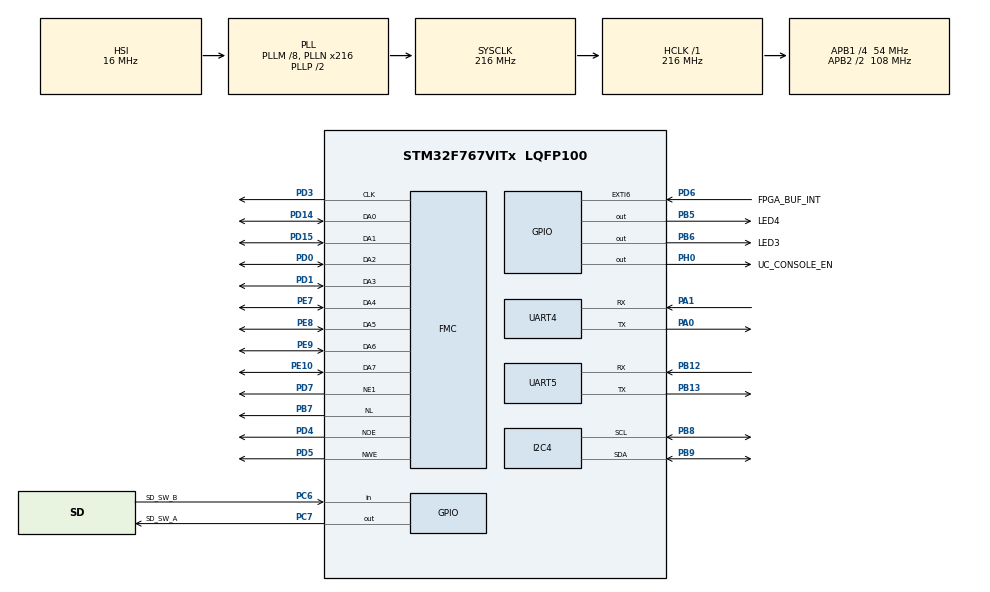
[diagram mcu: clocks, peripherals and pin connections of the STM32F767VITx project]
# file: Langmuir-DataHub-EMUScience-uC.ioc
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Dma.I2C4_RX.1.Direction=DMA_PERIPH_TO_MEMORY
Dma.I2C4_RX.1.FIFOMode=DMA_FIFOMODE_DISABLE
Dma.I2C4_RX.1.Instance=DMA1_Stream1
Dma.I2C4_RX.1.MemDataAlignment=DMA_MDATAALIGN_BYTE
Dma.I2C4_RX.1.MemInc=DMA_MINC_ENABLE
Dma.I2C4_RX.1.Mode=DMA_NORMAL
Dma.I2C4_RX.1.PeriphDataAlignment=DMA_PDATAALIGN_BYTE
Dma.I2C4_RX.1.PeriphInc=DMA_PINC_DISABLE
Dma.I2C4_RX.1.Priority=DMA_PRIORITY_LOW
Dma.I2C4_TX.2.Direction=DMA_MEMORY_TO_PERIPH
Dma.I2C4_TX.2.FIFOMode=DMA_FIFOMODE_DISABLE
Dma.I2C4_TX.2.Instance=DMA1_Stream5
Dma.I2C4_TX.2.MemDataAlignment=DMA_MDATAALIGN_BYTE
Dma.I2C4_TX.2.MemInc=DMA_MINC_ENABLE
Dma.I2C4_TX.2.Mode=DMA_NORMAL
Dma.I2C4_TX.2.PeriphDataAlignment=DMA_PDATAALIGN_BYTE
Dma.I2C4_TX.2.PeriphInc=DMA_PINC_DISABLE
Dma.I2C4_TX.2.Priority=DMA_PRIORITY_LOW
Dma.MEMTOMEM.0.Direction=DMA_MEMORY_TO_MEMORY
Dma.MEMTOMEM.0.FIFOMode=DMA_FIFOMODE_ENABLE
Dma.MEMTOMEM.0.FIFOThreshold=DMA_FIFO_THRESHOLD_FULL
Dma.MEMTOMEM.0.Instance=DMA2_Stream1
Dma.MEMTOMEM.0.MemBurst=DMA_MBURST_SINGLE
Dma.MEMTOMEM.0.MemDataAlignment=DMA_MDATAALIGN_BYTE
Dma.MEMTOMEM.0.MemInc=DMA_MINC_ENABLE
Dma.MEMTOMEM.0.Mode=DMA_NORMAL
Dma.MEMTOMEM.0.PeriphBurst=DMA_PBURST_SINGLE
Dma.MEMTOMEM.0.PeriphDataAlignment=DMA_PDATAALIGN_BYTE
Dma.MEMTOMEM.0.PeriphInc=DMA_PINC_ENABLE
Dma.MEMTOMEM.0.Priority=DMA_PRIORITY_VERY_HIGH
Dma.Request0=MEMTOMEM
Dma.Request1=I2C4_RX
Dma.Request2=I2C4_TX
Dma.Request3=UART4_TX
Dma.Request4=UART5_RX
Dma.UART4_TX.3.Direction=DMA_MEMORY_TO_PERIPH
Dma.UART4_TX.3.FIFOMode=DMA_FIFOMODE_DISABLE
Dma.UART4_TX.3.Instance=DMA1_Stream4
Dma.UART4_TX.3.MemDataAlignment=DMA_MDATAALIGN_BYTE
Dma.UART4_TX.3.MemInc=DMA_MINC_ENABLE
Dma.UART4_TX.3.Mode=DMA_NORMAL
Dma.UART4_TX.3.PeriphDataAlignment=DMA_PDATAALIGN_BYTE
Dma.UART4_TX.3.PeriphInc=DMA_PINC_DISABLE
Dma.UART4_TX.3.Priority=DMA_PRIORITY_LOW
Dma.UART5_RX.4.Direction=DMA_PERIPH_TO_MEMORY
Dma.UART5_RX.4.FIFOMode=DMA_FIFOMODE_DISABLE
Dma.UART5_RX.4.Instance=DMA1_Stream0
Dma.UART5_RX.4.MemDataAlignment=DMA_MDATAALIGN_BYTE
Dma.UART5_RX.4.MemInc=DMA_MINC_ENABLE
Dma.UART5_RX.4.Mode=DMA_NORMAL
Dma.UART5_RX.4.PeriphDataAlignment=DMA_PDATAALIGN_BYTE
Dma.UART5_RX.4.PeriphInc=DMA_PINC_DISABLE
Dma.UART5_RX.4.Priority=DMA_PRIORITY_LOW
FMC.CLKDivision1=6
FMC.WriteFifo1=FMC_WRITE_FIFO_DISABLE
FMC.WriteFifo2=FMC_WRITE_FIFO_DISABLE
FREERTOS.Tasks01=PUS_3_Task,0,1024,handle_PUS_3_Service,Default,NULL,Dynamic,NULL,NULL;UART_OBC_IN,2,1024,handle_UART_IN_OBC,Default,NULL,Dynamic,NULL,NULL;PUS_8_Task,0,1024,handle_PUS_8_Service,Default,NULL,Dynamic,NULL,NULL;UART_OBC_OUT,1,1024,handle_UART_OUT_OBC,Default,NULL,Dynamic,NULL,NULL;UART_FPGA_IN,2,512,handle_UART_IN_FPGA,Default,NULL,Dynamic,NULL,NULL;FPGA_Dispatcher,1,512,handle_FPGA_Dispatcher,Default,NULL,Dynamic,NULL,NULL;Watchdog_Task,-2,128,handle_Watchdog,Default,NULL,Dynamic,NULL,NULL
FREERTOS.configTOTAL_HEAP_SIZE=30000
I2C4.Timing=0x20404768
IWDG.Prescaler=IWDG_PRESCALER_64
Mcu.Family=STM32F7
Mcu.Name=STM32F767VITx
Mcu.Package=LQFP100
NVIC.DMA1_Stream0_IRQn=true\:5\:0\:false\:false\:true\:true\:false\:true
NVIC.DMA1_Stream1_IRQn=true\:5\:0\:false\:false\:true\:true\:false\:true
NVIC.DMA1_Stream4_IRQn=true\:5\:0\:false\:false\:true\:true\:false\:true
NVIC.DMA1_Stream5_IRQn=true\:5\:0\:false\:false\:true\:true\:false\:true
NVIC.DMA2_Stream1_IRQn=true\:5\:0\:false\:true\:true\:1\:true\:true\:true
NVIC.EXTI9_5_IRQn=true\:5\:0\:false\:false\:true\:true\:true\:true
NVIC.PriorityGroup=NVIC_PRIORITYGROUP_4
NVIC.TIM1_UP_TIM10_IRQn=true\:0\:0\:false\:false\:true\:false\:false\:true
NVIC.TimeBase=TIM1_UP_TIM10_IRQn
NVIC.TimeBaseIP=TIM1
NVIC.UART4_IRQn=true\:5\:0\:false\:false\:true\:true\:true\:true
NVIC.UART5_IRQn=true\:5\:0\:false\:false\:true\:true\:true\:true
PA0/WKUP.Mode=Asynchronous
PA0/WKUP.Signal=UART4_TX
PA1.Mode=Asynchronous
PA1.Signal=UART4_RX
PA13.Mode=Serial_Wire
PA13.Signal=SYS_JTMS-SWDIO
PA14.Mode=Serial_Wire
PA14.Signal=SYS_JTCK-SWCLK
PB12.Mode=Asynchronous
PB12.Signal=UART5_RX
PB13.Mode=Asynchronous
PB13.Signal=UART5_TX
PB5.GPIO_Label=LED4
PB5.Signal=GPIO_Output
PB6.GPIO_Label=LED3
PB6.Signal=GPIO_Output
PB7.GPIO_PuPd=GPIO_NOPULL
PB7.GPIO_Speed_High_Default=GPIO_SPEED_FREQ_MEDIUM
PB7.Signal=FMC_NL
PB8.GPIO_PuPdOD=GPIO_PULLUP
PB8.GPIO_Speed=GPIO_SPEED_FREQ_LOW
PB8.Mode=I2C
PB8.Signal=I2C4_SCL
PB9.GPIO_PuPdOD=GPIO_PULLUP
PB9.GPIO_Speed=GPIO_SPEED_FREQ_LOW
PB9.Mode=I2C
PB9.Signal=I2C4_SDA
PC6.GPIO_Label=SD_SW_B
PC6.GPIO_PuPd=GPIO_PULLUP
PC6.Signal=GPIO_Input
PC7.GPIO_Label=SD_SW_A
PC7.PinState=GPIO_PIN_RESET
PC7.Signal=GPIO_Output
PD0.GPIO_Speed_High_Default=GPIO_SPEED_FREQ_MEDIUM
PD0.Signal=FMC_D2_DA2
PD1.GPIO_Speed_High_Default=GPIO_SPEED_FREQ_MEDIUM
PD1.Signal=FMC_D3_DA3
PD14.GPIO_Speed_High_Default=GPIO_SPEED_FREQ_MEDIUM
PD14.Signal=FMC_D0_DA0
PD15.GPIO_Speed_High_Default=GPIO_SPEED_FREQ_MEDIUM
PD15.Signal=FMC_D1_DA1
PD3.GPIO_Speed_High_Default=GPIO_SPEED_FREQ_MEDIUM
PD3.Signal=FMC_CLK
PD4.GPIO_Speed_High_Default=GPIO_SPEED_FREQ_MEDIUM
PD4.Signal=FMC_NOE
PD5.GPIO_Speed_High_Default=GPIO_SPEED_FREQ_MEDIUM
PD5.Signal=FMC_NWE
PD6.GPIO_Label=FPGA_BUF_INT
PD6.Signal=GPXTI6
PD7.GPIO_Speed_High_Default=GPIO_SPEED_FREQ_MEDIUM
PD7.Mode=NorPsramChipSelect1_1
PD7.Signal=FMC_NE1
PE10.GPIO_Speed_High_Default=GPIO_SPEED_FREQ_MEDIUM
PE10.Signal=FMC_D7_DA7
PE7.GPIO_Speed_High_Default=GPIO_SPEED_FREQ_MEDIUM
PE7.Signal=FMC_D4_DA4
PE8.GPIO_Speed_High_Default=GPIO_SPEED_FREQ_MEDIUM
PE8.Signal=FMC_D5_DA5
PE9.GPIO_Speed_High_Default=GPIO_SPEED_FREQ_MEDIUM
PE9.Signal=FMC_D6_DA6
PH0/OSC_IN.GPIO_Label=UC_CONSOLE_EN
PH0/OSC_IN.Signal=GPIO_Output
ProjectManager.HeapSize=0x200
ProjectManager.StackSize=0x400
ProjectManager.TargetToolchain=STM32CubeIDE
RCC.AHBFreq_Value=216000000
RCC.APB1CLKDivider=RCC_HCLK_DIV4
RCC.APB1Freq_Value=54000000
RCC.APB1TimFreq_Value=108000000
RCC.APB2CLKDivider=RCC_HCLK_DIV2
RCC.APB2Freq_Value=108000000
RCC.APB2TimFreq_Value=216000000
RCC.CortexFreq_Value=216000000
RCC.HCLKFreq_Value=216000000
RCC.HSE_VALUE=25000000
RCC.HSI_VALUE=16000000
RCC.LSE_VALUE=32768
RCC.PLLM=8
RCC.PLLN=216
RCC.PLLQ=9
RCC.SDMMCClockSelection=RCC_SDMMC1CLKSOURCE_CLK48
RCC.SYSCLKFreq_VALUE=216000000
RCC.SYSCLKSource=RCC_SYSCLKSOURCE_PLLCLK
RCC.USBFreq_Value=48000000
RCC.VCOOutputFreq_Value=432000000
SH.FMC_CLK.0=FMC_CLK,BurstRead1
SH.FMC_D0_DA0.0=FMC_DA0,8b-da1
SH.FMC_D1_DA1.0=FMC_DA1,8b-da1
SH.FMC_D2_DA2.0=FMC_DA2,8b-da1
SH.FMC_D3_DA3.0=FMC_DA3,8b-da1
SH.FMC_D4_DA4.0=FMC_DA4,8b-da1
SH.FMC_D5_DA5.0=FMC_DA5,8b-da1
SH.FMC_D6_DA6.0=FMC_DA6,8b-da1
SH.FMC_D7_DA7.0=FMC_DA7,8b-da1
SH.FMC_NL.0=FMC_NL,AddressValid1
SH.FMC_NOE.0=FMC_NOE,MuxedPsram1
SH.FMC_NWE.0=FMC_NWE,MuxedPsram1
VP_FREERTOS_VS_CMSIS_V1.Mode=CMSIS_V1
VP_IWDG_VS_IWDG.Mode=IWDG_Activate
VP_SYS_VS_tim1.Mode=TIM1
board=custom

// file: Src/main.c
/* USER CODE BEGIN Header */
/**
    ******************************************************************************
    * @file                     : main.c
    * @brief                    : Main program body
    ******************************************************************************
    * @attention
    *
    * <h2><center>&copy; Copyright (c) 2019 STMicroelectronics.
    * All rights reserved.</center></h2>
    *
    * This software component is licensed by ST under Ultimate Liberty license
    * SLA0044, the "License"; You may not use this file except in compliance with
    * the License. You may obtain a copy of the License at:
    *                                                         www.st.com/SLA0044
    *
    ******************************************************************************
    */
/* USER CODE END Header */

#include "main.h"
#include "cmsis_os.h"

/* USER CODE BEGIN Includes */

#include "FRAM.h"
#include "COBS.h"
#include "General_Functions.h"
#include "Space_Packet_Protocol.h"
#include "PUS.h"
#include "PUS_1_service.h"
#include "PUS_3_service.h"
#include "PUS_8_service.h"
#include "PUS_17_service.h"
#include "Device_State.h"
#include "fram_meta.h"
/* USER CODE END Includes */

I2C_HandleTypeDef hi2c4;
DMA_HandleTypeDef hdma_i2c4_rx;
DMA_HandleTypeDef hdma_i2c4_tx;

IWDG_HandleTypeDef hiwdg;

UART_HandleTypeDef huart4;
UART_HandleTypeDef huart5;
DMA_HandleTypeDef hdma_uart4_tx;
DMA_HandleTypeDef hdma_uart5_rx;

DMA_HandleTypeDef hdma_memtomem_dma2_stream1;
SRAM_HandleTypeDef hsram1;

osThreadId PUS_3_TaskHandle;
osThreadId UART_OBC_INHandle;
osThreadId PUS_8_TaskHandle;
osThreadId UART_OBC_OUTHandle;
osThreadId UART_FPGA_INHandle;
osThreadId FPGA_DispatcherHandle;
osThreadId Watchdog_TaskHandle;
/* USER CODE BEGIN PV */

#define UNIT_ID_CU 0x1A
#define UNIT_ID_EMUCONTROL 0x1B
#define UNIT_ID_EMUSCIENCE 0x1C
#define UNIT_ID_SMILE 0x1D

#define SWEEP_MODE_MEASUREMENT_BYTE_SIZE 8 // size in bytes of a measurement stored inside the FIFO
#define SWEEP_MODE_ROWS_TO_READ 64 // nr of rows that have to be read when the AFULL interrupt is generated
#define SWEEP_MODE_DATA_SIZE_TO_READ SWEEP_MODE_ROWS_TO_READ * SWEEP_MODE_MEASUREMENT_BYTE_SIZE * sizeof(uint8_t)

#define UART_MAX_RETRIES 3

#define BOOT_HEALTH_OBC_RX_ARM  (1u << 0)
#define BOOT_HEALTH_FPGA_RX_ARM (1u << 1)
#define BOOT_HEALTH_WATCHDOG    (1u << 2)
#define BOOT_HEALTH_REQUIRED    (BOOT_HEALTH_OBC_RX_ARM | \
                                 BOOT_HEALTH_FPGA_RX_ARM | \
                                 BOOT_HEALTH_WATCHDOG)

#define APP_DIAG_MAGIC 0x41444941u /* "ADIA" */

typedef struct {
	uint32_t magic;
	uint32_t boot_count;
	uint32_t previous_stage;
	uint32_t current_stage;
	uint32_t cfsr;
	uint32_t hfsr;
} app_diag_t;

volatile app_diag_t g_app_diag
	__attribute__((section(".noinit.app_diag"), aligned(8), used));

uint16_t HK_SPP_APP_ID = 0;
uint16_t HK_PUS_SOURCE_ID = 0;

volatile uint8_t g_boot_confirmed = 0;  // 1 = ConfirmBoot() persisted to FRAM (reported in GET_VERSION TM)
static volatile uint32_t g_boot_health_flags = 0u;
static volatile uint8_t g_boot_health_failed = 0u;

extern QueueHandle_t UART_OBC_Out_Queue;
extern QueueHandle_t PUS_3_Queue;
extern QueueHandle_t PUS_8_Queue;
extern QueueHandle_t FPGA_IN_Queue;

extern volatile uint8_t uart_tx_OBC_done;
extern volatile uint8_t uart_tx_FPGA_done;

extern uint8_t UART_FPGA_Rx_Buffer[100];
extern uint8_t UART_FPGA_OBC_Tx_Buffer[100];

extern volatile UART_Rx_OBC_Msg UART_RxBuffer;
extern volatile uint16_t UART_recv_count;
extern volatile uint8_t UART_recv_char;
extern volatile uint8_t UART_TxBuffer[MAX_COBS_FRAME_LEN];

DeviceState Current_Global_Device_State = NORMAL_MODE;

volatile uint8_t Sweep_Bias_Mode_Data[3072];

volatile uint16_t Sweep_Bias_Data_counter = 0;
volatile uint16_t Old_Sweep_Bias_Data_counter = 0;

/* USER CODE END PV */

void SystemClock_Config(void);
static void MX_GPIO_Init(void);
static void MX_DMA_Init(void);
static void MX_FMC_Init(void);
static void MX_I2C4_Init(void);
static void MX_UART4_Init(void);
static void MX_UART5_Init(void);
static void MX_IWDG_Init(void);
void handle_PUS_3_Service(void const * argument);
void handle_UART_IN_OBC(void const * argument);
void handle_PUS_8_Service(void const * argument);
void handle_UART_OUT_OBC(void const * argument);
void handle_UART_IN_FPGA(void const * argument);
void handle_FPGA_Dispatcher(void const * argument);
void handle_Watchdog(void const * argument);

static void MX_NVIC_Init(void);
/* USER CODE BEGIN PFP */
static bool arm_obc_receive(void);
static bool arm_fpga_receive(void);
static void app_diag_stage(uint32_t stage);

/* USER CODE END PFP */

/* USER CODE BEGIN 0 */

static void app_diag_begin(void)
{
	uint32_t previous = 0u;
	uint32_t count = 0u;
	if (g_app_diag.magic == APP_DIAG_MAGIC) {
		previous = g_app_diag.current_stage;
		count = g_app_diag.boot_count;
	}
	g_app_diag.magic = APP_DIAG_MAGIC;
	g_app_diag.boot_count = count + 1u;
	g_app_diag.previous_stage = previous;
	g_app_diag.current_stage = 1u;
	g_app_diag.cfsr = 0u;
	g_app_diag.hfsr = 0u;
	__DMB();
}

static void app_diag_stage(uint32_t stage)
{
	g_app_diag.current_stage = stage;
	__DMB();
}

void BootHealth_RequestReset(void)
{
	g_boot_health_failed = 1u;
	__DMB();
}

bool BootHealth_RefreshIWDG(void)
{
	if (g_boot_health_failed) {
		return false;
	}

	return HAL_IWDG_Refresh(&hiwdg) == HAL_OK;
}

void AppDiag_RecordFault(uint32_t fault_kind)
{
	g_app_diag.current_stage = 0x80000000u | fault_kind;
	g_app_diag.cfsr = SCB->CFSR;
	g_app_diag.hfsr = SCB->HFSR;
	__DMB();
}

static bool arm_obc_receive(void)
{
	for (uint32_t attempt = 0u; attempt < UART_MAX_RETRIES; attempt++) {
		__HAL_UART_CLEAR_FLAG(&DEBUG_UART, UART_FLAG_ORE);
		__HAL_UART_CLEAR_FLAG(&DEBUG_UART, UART_FLAG_NE);
		__HAL_UART_CLEAR_FLAG(&DEBUG_UART, UART_FLAG_FE);
		if (HAL_UART_Receive_IT(&DEBUG_UART, (uint8_t*)&UART_recv_char, 1u) == HAL_OK) {
			return true;
		}
		osDelay(10u);
	}
	return false;
}

static bool arm_fpga_receive(void)
{
	for (uint32_t attempt = 0u; attempt < UART_MAX_RETRIES; attempt++) {
		if (HAL_UART_Receive_DMA(&huart5, UART_FPGA_Rx_Buffer,
						  FPGA_FRAME_LEN) == HAL_OK) {
			return true;
		}
		osDelay(10u);
	}
	return false;
}

/* USER CODE END 0 */

int main(void)
{
  /* USER CODE BEGIN 1 */
	/* The bootloader intentionally hands off with PRIMASK set. This also keeps
	 * a directly programmed/JTAG-started application independent of BL state. */
	__enable_irq();
	app_diag_begin();

  /* USER CODE END 1 */

  /* MCU Configuration--------------------------------------------------------*/

  /* Reset of all peripherals, Initializes the Flash interface and the Systick. */
  app_diag_stage(2u);
  if (HAL_Init() != HAL_OK) {
    Error_Handler();
  }

  /* USER CODE BEGIN Init */

  // This line is very IMPORTANT because it also pauses the hardware watchdog when in debug mode,
  // thus allowing for a proper analysis of the system state (ex: science data buffer)
  __HAL_DBGMCU_FREEZE_IWDG();

  FPGA_IN_Queue      = xQueueCreate(128, sizeof(FPGA_IN_Msg_t));
  UART_OBC_Out_Queue = xQueueCreate(1, sizeof(UART_OUT_OBC_msg));
  PUS_3_Queue = xQueueCreate(1, sizeof(PUS_3_msg));
// --------------------------------------------------------------------------------------------------
  PUS_8_Queue = xQueueCreate(8, sizeof(PUS_8_msg));
 // --------------------------------------------------------------------------------------------------

  Current_Global_Device_State = NORMAL_MODE;
  /* USER CODE END Init */

  /* Configure the system clock */
  app_diag_stage(3u);
  SystemClock_Config();

  /* Initialize all configured peripherals */
  app_diag_stage(4u);
  MX_GPIO_Init();
  app_diag_stage(5u);
  MX_DMA_Init();
  app_diag_stage(6u);
  MX_FMC_Init();
  app_diag_stage(7u);
  MX_I2C4_Init();
  app_diag_stage(8u);
  MX_UART4_Init();
  app_diag_stage(9u);
  MX_UART5_Init();
  app_diag_stage(10u);
  MX_IWDG_Init();

  /* Initialize interrupts */
  MX_NVIC_Init();
  app_diag_stage(11u);
  /* USER CODE BEGIN 2 */
  /* Boot confirmation occurs after the scheduler and watchdog health interval. */

  HAL_GPIO_WritePin(GPIOB, LED4_Pin|LED3_Pin, GPIO_PIN_RESET);

  hsram1.hdma = &hdma_memtomem_dma2_stream1;
  /* USER CODE END 2 */

  /* Create the thread(s) */
  /* definition and creation of PUS_3_Task */
  osThreadDef(PUS_3_Task, handle_PUS_3_Service, osPriorityNormal, 0, 1024);
  PUS_3_TaskHandle = osThreadCreate(osThread(PUS_3_Task), NULL);

  /* definition and creation of UART_OBC_IN */
  osThreadDef(UART_OBC_IN, handle_UART_IN_OBC, osPriorityHigh, 0, 1024);
  UART_OBC_INHandle = osThreadCreate(osThread(UART_OBC_IN), NULL);

  /* definition and creation of PUS_8_Task */
  osThreadDef(PUS_8_Task, handle_PUS_8_Service, osPriorityNormal, 0, 1024);
  PUS_8_TaskHandle = osThreadCreate(osThread(PUS_8_Task), NULL);

  /* definition and creation of UART_OBC_OUT */
  osThreadDef(UART_OBC_OUT, handle_UART_OUT_OBC, osPriorityAboveNormal, 0, 1024);
  UART_OBC_OUTHandle = osThreadCreate(osThread(UART_OBC_OUT), NULL);

  /* definition and creation of UART_FPGA_IN */
  osThreadDef(UART_FPGA_IN, handle_UART_IN_FPGA, osPriorityHigh, 0, 512);
  UART_FPGA_INHandle = osThreadCreate(osThread(UART_FPGA_IN), NULL);

  /* definition and creation of FPGA_Dispatcher */
  osThreadDef(FPGA_Dispatcher, handle_FPGA_Dispatcher, osPriorityAboveNormal, 0, 512);
  FPGA_DispatcherHandle = osThreadCreate(osThread(FPGA_Dispatcher), NULL);

  /* definition and creation of Watchdog_Task */
  osThreadDef(Watchdog_Task, handle_Watchdog, osPriorityLow, 0, 128);
  Watchdog_TaskHandle = osThreadCreate(osThread(Watchdog_Task), NULL);

  if (FPGA_IN_Queue == NULL ||
      UART_OBC_Out_Queue == NULL ||
      PUS_3_Queue == NULL ||
      PUS_8_Queue == NULL ||
      PUS_3_TaskHandle == NULL ||
      UART_OBC_INHandle == NULL ||
      PUS_8_TaskHandle == NULL ||
      UART_OBC_OUTHandle == NULL ||
      UART_FPGA_INHandle == NULL ||
      FPGA_DispatcherHandle == NULL ||
      Watchdog_TaskHandle == NULL) {
    while (1) {
      /* The running IWDG resets into the bootloader. */
    }
  }

  app_diag_stage(12u);

  /* Start scheduler */
  osKernelStart();

  /* We should never get here as control is now taken by the scheduler */

  /* Infinite loop */
    while (1)
    {

    }
}

void SystemClock_Config(void)
{
  RCC_OscInitTypeDef RCC_OscInitStruct = {0};
  RCC_ClkInitTypeDef RCC_ClkInitStruct = {0};
  RCC_PeriphCLKInitTypeDef PeriphClkInitStruct = {0};

  /** Configure the main internal regulator output voltage
  */
  __HAL_RCC_PWR_CLK_ENABLE();
  __HAL_PWR_VOLTAGESCALING_CONFIG(PWR_REGULATOR_VOLTAGE_SCALE1);
  /** Initializes the CPU, AHB and APB busses clocks
  */
  RCC_OscInitStruct.OscillatorType = RCC_OSCILLATORTYPE_HSI|RCC_OSCILLATORTYPE_LSI;
  RCC_OscInitStruct.HSIState = RCC_HSI_ON;
  RCC_OscInitStruct.HSICalibrationValue = RCC_HSICALIBRATION_DEFAULT;
  RCC_OscInitStruct.LSIState = RCC_LSI_ON;
  RCC_OscInitStruct.PLL.PLLState = RCC_PLL_ON;
  RCC_OscInitStruct.PLL.PLLSource = RCC_PLLSOURCE_HSI;
  RCC_OscInitStruct.PLL.PLLM = 8;
  RCC_OscInitStruct.PLL.PLLN = 216;
  RCC_OscInitStruct.PLL.PLLP = RCC_PLLP_DIV2;
  RCC_OscInitStruct.PLL.PLLQ = 9;
  if (HAL_RCC_OscConfig(&RCC_OscInitStruct) != HAL_OK)
  {
    Error_Handler();
  }
  /** Activate the Over-Drive mode
  */
  if (HAL_PWREx_EnableOverDrive() != HAL_OK)
  {
    Error_Handler();
  }
  /** Initializes the CPU, AHB and APB busses clocks
  */
  RCC_ClkInitStruct.ClockType = RCC_CLOCKTYPE_HCLK|RCC_CLOCKTYPE_SYSCLK
                              |RCC_CLOCKTYPE_PCLK1|RCC_CLOCKTYPE_PCLK2;
  RCC_ClkInitStruct.SYSCLKSource = RCC_SYSCLKSOURCE_PLLCLK;
  RCC_ClkInitStruct.AHBCLKDivider = RCC_SYSCLK_DIV1;
  RCC_ClkInitStruct.APB1CLKDivider = RCC_HCLK_DIV4;
  RCC_ClkInitStruct.APB2CLKDivider = RCC_HCLK_DIV2;

  if (HAL_RCC_ClockConfig(&RCC_ClkInitStruct, FLASH_LATENCY_7) != HAL_OK)
  {
    Error_Handler();
  }
  PeriphClkInitStruct.PeriphClockSelection = RCC_PERIPHCLK_UART4|RCC_PERIPHCLK_UART5
                              |RCC_PERIPHCLK_I2C4;
  PeriphClkInitStruct.Uart4ClockSelection = RCC_UART4CLKSOURCE_PCLK1;
  PeriphClkInitStruct.Uart5ClockSelection = RCC_UART5CLKSOURCE_PCLK1;
  PeriphClkInitStruct.I2c4ClockSelection = RCC_I2C4CLKSOURCE_PCLK1;
  if (HAL_RCCEx_PeriphCLKConfig(&PeriphClkInitStruct) != HAL_OK)
  {
    Error_Handler();
  }
}

/**
  * @brief NVIC Configuration.
  * @retval None
  */
static void MX_NVIC_Init(void)
{
  /* DMA2_Stream1_IRQn interrupt configuration */
  HAL_NVIC_SetPriority(DMA2_Stream1_IRQn, 5, 0);
  HAL_NVIC_EnableIRQ(DMA2_Stream1_IRQn);
}

static void MX_I2C4_Init(void)
{

  hi2c4.Instance = I2C4;
  hi2c4.Init.Timing = 0x20404768;
  hi2c4.Init.OwnAddress1 = 0;
  hi2c4.Init.AddressingMode = I2C_ADDRESSINGMODE_7BIT;
  hi2c4.Init.DualAddressMode = I2C_DUALADDRESS_DISABLE;
  hi2c4.Init.OwnAddress2 = 0;
  hi2c4.Init.OwnAddress2Masks = I2C_OA2_NOMASK;
  hi2c4.Init.GeneralCallMode = I2C_GENERALCALL_DISABLE;
  hi2c4.Init.NoStretchMode = I2C_NOSTRETCH_DISABLE;
  if (HAL_I2C_Init(&hi2c4) != HAL_OK)
  {
    Error_Handler();
  }
  /** Configure Analogue filter
  */
  if (HAL_I2CEx_ConfigAnalogFilter(&hi2c4, I2C_ANALOGFILTER_ENABLE) != HAL_OK)
  {
    Error_Handler();
  }
  /** Configure Digital filter
  */
  if (HAL_I2CEx_ConfigDigitalFilter(&hi2c4, 0) != HAL_OK)
  {
    Error_Handler();
  }

}

static void MX_IWDG_Init(void)
{

  hiwdg.Instance = IWDG;
  hiwdg.Init.Prescaler = IWDG_PRESCALER_128;
  hiwdg.Init.Window = 4095;
  hiwdg.Init.Reload = 4095;
  if (HAL_IWDG_Init(&hiwdg) != HAL_OK)
  {
    Error_Handler();
  }

}

static void MX_UART4_Init(void)
{

  huart4.Instance = UART4;
  huart4.Init.BaudRate = 115200;
  huart4.Init.WordLength = UART_WORDLENGTH_8B;
  huart4.Init.StopBits = UART_STOPBITS_1;
  huart4.Init.Parity = UART_PARITY_NONE;
  huart4.Init.Mode = UART_MODE_TX_RX;
  huart4.Init.HwFlowCtl = UART_HWCONTROL_NONE;
  huart4.Init.OverSampling = UART_OVERSAMPLING_16;
  huart4.Init.OneBitSampling = UART_ONE_BIT_SAMPLE_DISABLE;
  huart4.AdvancedInit.AdvFeatureInit = UART_ADVFEATURE_NO_INIT;
  if (HAL_UART_Init(&huart4) != HAL_OK)
  {
    Error_Handler();
  }

}

static void MX_UART5_Init(void)
{

  huart5.Instance = UART5;
  huart5.Init.BaudRate = 115200;
  huart5.Init.WordLength = UART_WORDLENGTH_8B;
  huart5.Init.StopBits = UART_STOPBITS_1;
  huart5.Init.Parity = UART_PARITY_NONE;
  huart5.Init.Mode = UART_MODE_TX_RX;
  huart5.Init.HwFlowCtl = UART_HWCONTROL_NONE;
  huart5.Init.OverSampling = UART_OVERSAMPLING_16;
  huart5.Init.OneBitSampling = UART_ONE_BIT_SAMPLE_DISABLE;
  huart5.AdvancedInit.AdvFeatureInit = UART_ADVFEATURE_NO_INIT;
  if (HAL_UART_Init(&huart5) != HAL_OK)
  {
    Error_Handler();
  }

}

static void MX_DMA_Init(void)
{
  /* DMA controller clock enable */
  __HAL_RCC_DMA2_CLK_ENABLE();
  __HAL_RCC_DMA1_CLK_ENABLE();

  /* Configure DMA request hdma_memtomem_dma2_stream1 on DMA2_Stream1 */
  hdma_memtomem_dma2_stream1.Instance = DMA2_Stream1;
  hdma_memtomem_dma2_stream1.Init.Channel = DMA_CHANNEL_0;
  hdma_memtomem_dma2_stream1.Init.Direction = DMA_MEMORY_TO_MEMORY;
  hdma_memtomem_dma2_stream1.Init.PeriphInc = DMA_PINC_ENABLE;
  hdma_memtomem_dma2_stream1.Init.MemInc = DMA_MINC_ENABLE;
  hdma_memtomem_dma2_stream1.Init.PeriphDataAlignment = DMA_PDATAALIGN_BYTE;
  hdma_memtomem_dma2_stream1.Init.MemDataAlignment = DMA_MDATAALIGN_BYTE;
  hdma_memtomem_dma2_stream1.Init.Mode = DMA_NORMAL;
  hdma_memtomem_dma2_stream1.Init.Priority = DMA_PRIORITY_VERY_HIGH;
  hdma_memtomem_dma2_stream1.Init.FIFOMode = DMA_FIFOMODE_ENABLE;
  hdma_memtomem_dma2_stream1.Init.FIFOThreshold = DMA_FIFO_THRESHOLD_FULL;
  hdma_memtomem_dma2_stream1.Init.MemBurst = DMA_MBURST_SINGLE;
  hdma_memtomem_dma2_stream1.Init.PeriphBurst = DMA_PBURST_SINGLE;
  if (HAL_DMA_Init(&hdma_memtomem_dma2_stream1) != HAL_OK)
  {
    Error_Handler( );
  }

  /* DMA interrupt init */
  /* DMA1_Stream0_IRQn interrupt configuration */
  HAL_NVIC_SetPriority(DMA1_Stream0_IRQn, 5, 0);
  HAL_NVIC_EnableIRQ(DMA1_Stream0_IRQn);
  /* DMA1_Stream1_IRQn interrupt configuration */
  HAL_NVIC_SetPriority(DMA1_Stream1_IRQn, 5, 0);
  HAL_NVIC_EnableIRQ(DMA1_Stream1_IRQn);
  /* DMA1_Stream4_IRQn interrupt configuration */
  HAL_NVIC_SetPriority(DMA1_Stream4_IRQn, 5, 0);
  HAL_NVIC_EnableIRQ(DMA1_Stream4_IRQn);
  /* DMA1_Stream5_IRQn interrupt configuration */
  HAL_NVIC_SetPriority(DMA1_Stream5_IRQn, 5, 0);
  HAL_NVIC_EnableIRQ(DMA1_Stream5_IRQn);

}
/* FMC initialization function */
static void MX_FMC_Init(void)
{
  FMC_NORSRAM_TimingTypeDef Timing;

  /** Perform the SRAM1 memory initialization sequence
  */
  hsram1.Instance = FMC_NORSRAM_DEVICE;
  hsram1.Extended = FMC_NORSRAM_EXTENDED_DEVICE;
  /* hsram1.Init */
  hsram1.Init.NSBank = FMC_NORSRAM_BANK1;
  hsram1.Init.DataAddressMux = FMC_DATA_ADDRESS_MUX_ENABLE;
  hsram1.Init.MemoryType = FMC_MEMORY_TYPE_PSRAM;
  hsram1.Init.MemoryDataWidth = FMC_NORSRAM_MEM_BUS_WIDTH_8;
  hsram1.Init.BurstAccessMode = FMC_BURST_ACCESS_MODE_ENABLE;
  hsram1.Init.WaitSignalPolarity = FMC_WAIT_SIGNAL_POLARITY_LOW;
  hsram1.Init.WaitSignalActive = FMC_WAIT_TIMING_BEFORE_WS;
  hsram1.Init.WriteOperation = FMC_WRITE_OPERATION_DISABLE;
  hsram1.Init.WaitSignal = FMC_WAIT_SIGNAL_DISABLE;
  hsram1.Init.ExtendedMode = FMC_EXTENDED_MODE_DISABLE;
  hsram1.Init.AsynchronousWait = FMC_ASYNCHRONOUS_WAIT_DISABLE;
  hsram1.Init.WriteBurst = FMC_WRITE_BURST_DISABLE;
  hsram1.Init.ContinuousClock = FMC_CONTINUOUS_CLOCK_SYNC_ONLY;
  hsram1.Init.WriteFifo = FMC_WRITE_FIFO_DISABLE;
  hsram1.Init.PageSize = FMC_PAGE_SIZE_NONE;
  /* Timing */
  Timing.AddressSetupTime = 15;
  Timing.AddressHoldTime = 15;
  Timing.DataSetupTime = 255;
  Timing.BusTurnAroundDuration = 15;
  Timing.CLKDivision = 6;
  Timing.DataLatency = 2;
  Timing.AccessMode = FMC_ACCESS_MODE_A;
  /* ExtTiming */

  if (HAL_SRAM_Init(&hsram1, &Timing, NULL) != HAL_OK)
  {
    Error_Handler( );
  }

}

static void MX_GPIO_Init(void)
{
  GPIO_InitTypeDef GPIO_InitStruct = {0};

  /* GPIO Ports Clock Enable */
  __HAL_RCC_GPIOH_CLK_ENABLE();
  __HAL_RCC_GPIOA_CLK_ENABLE();
  __HAL_RCC_GPIOE_CLK_ENABLE();
  __HAL_RCC_GPIOB_CLK_ENABLE();
  __HAL_RCC_GPIOD_CLK_ENABLE();
  __HAL_RCC_GPIOC_CLK_ENABLE();

  /*Configure GPIO pin Output Level */
  HAL_GPIO_WritePin(UC_CONSOLE_EN_GPIO_Port, UC_CONSOLE_EN_Pin, GPIO_PIN_RESET);

  /*Configure GPIO pin Output Level */
  HAL_GPIO_WritePin(SD_SW_A_GPIO_Port, SD_SW_A_Pin, GPIO_PIN_RESET);

  /*Configure GPIO pin Output Level */
  HAL_GPIO_WritePin(GPIOB, LED4_Pin|LED3_Pin, GPIO_PIN_RESET);

  /*Configure GPIO pin : UC_CONSOLE_EN_Pin */
  GPIO_InitStruct.Pin = UC_CONSOLE_EN_Pin;
  GPIO_InitStruct.Mode = GPIO_MODE_OUTPUT_PP;
  GPIO_InitStruct.Pull = GPIO_NOPULL;
  GPIO_InitStruct.Speed = GPIO_SPEED_FREQ_LOW;
  HAL_GPIO_Init(UC_CONSOLE_EN_GPIO_Port, &GPIO_InitStruct);

  /*Configure GPIO pin : SD_SW_B_Pin */
  GPIO_InitStruct.Pin = SD_SW_B_Pin;
  GPIO_InitStruct.Mode = GPIO_MODE_INPUT;
  GPIO_InitStruct.Pull = GPIO_PULLUP;
  HAL_GPIO_Init(SD_SW_B_GPIO_Port, &GPIO_InitStruct);

  /*Configure GPIO pin : SD_SW_A_Pin */
  GPIO_InitStruct.Pin = SD_SW_A_Pin;
  GPIO_InitStruct.Mode = GPIO_MODE_OUTPUT_PP;
  GPIO_InitStruct.Pull = GPIO_NOPULL;
  GPIO_InitStruct.Speed = GPIO_SPEED_FREQ_LOW;
  HAL_GPIO_Init(SD_SW_A_GPIO_Port, &GPIO_InitStruct);

  /*Configure GPIO pin : FPGA_BUF_INT_Pin */
  GPIO_InitStruct.Pin = FPGA_BUF_INT_Pin;
  GPIO_InitStruct.Mode = GPIO_MODE_IT_RISING;
  GPIO_InitStruct.Pull = GPIO_NOPULL;
  HAL_GPIO_Init(FPGA_BUF_INT_GPIO_Port, &GPIO_InitStruct);

  /*Configure GPIO pins : LED4_Pin LED3_Pin */
  GPIO_InitStruct.Pin = LED4_Pin|LED3_Pin;
  GPIO_InitStruct.Mode = GPIO_MODE_OUTPUT_PP;
  GPIO_InitStruct.Pull = GPIO_NOPULL;
  GPIO_InitStruct.Speed = GPIO_SPEED_FREQ_LOW;
  HAL_GPIO_Init(GPIOB, &GPIO_InitStruct);

  /* EXTI interrupt init*/
  HAL_NVIC_SetPriority(EXTI9_5_IRQn, 5, 0);
  HAL_NVIC_EnableIRQ(EXTI9_5_IRQn);

}

/* USER CODE BEGIN 4 */

void HAL_SRAM_DMA_XferCpltCallback(DMA_HandleTypeDef *hdma)
{
    Sweep_Bias_Data_counter += SWEEP_MODE_DATA_SIZE_TO_READ;
    if (__HAL_GPIO_EXTI_GET_IT(FPGA_BUF_INT_Pin) != RESET)
    {
    	// VERY IMPORTANT TO CLEAR THE INTERRUPTS
    	__HAL_GPIO_EXTI_CLEAR_IT(FPGA_BUF_INT_Pin);
    	NVIC_ClearPendingIRQ(EXTI9_5_IRQn);
    }

    HAL_NVIC_EnableIRQ(EXTI9_5_IRQn);

}

void HAL_GPIO_EXTI_Callback(uint16_t GPIO_Pin)
{
	if (GPIO_Pin == FPGA_BUF_INT_Pin && (Old_Sweep_Bias_Data_counter != Sweep_Bias_Data_counter))  // Adjust to your pin
	{
		Old_Sweep_Bias_Data_counter = Sweep_Bias_Data_counter;
		HAL_GPIO_TogglePin(GPIOB, LED4_Pin | LED3_Pin);
		if(Sweep_Bias_Data_counter <= sizeof(Sweep_Bias_Mode_Data) - SWEEP_MODE_DATA_SIZE_TO_READ)
		{
			HAL_NVIC_DisableIRQ(EXTI9_5_IRQn);
			HAL_SRAM_Read_DMA(&hsram1,
					(uint32_t *)0x60000000,
					(uint32_t *)(Sweep_Bias_Mode_Data + Sweep_Bias_Data_counter),
					SWEEP_MODE_DATA_SIZE_TO_READ);

		}
		else
		{
			HAL_NVIC_DisableIRQ(EXTI9_5_IRQn);

			// VERY IMPORTANT TO CLEAR THE INTERRUPTS
			__HAL_GPIO_EXTI_CLEAR_IT(FPGA_BUF_INT_Pin);
			NVIC_ClearPendingIRQ(EXTI9_5_IRQn);
		}
	}
}

void Clear_UART_Errors(UART_HandleTypeDef *huart)
{
	// Clear Overrun Error, Noise Error, and Framing Error flags
	__HAL_UART_CLEAR_FLAG(huart, UART_FLAG_ORE);
	__HAL_UART_CLEAR_FLAG(huart, UART_FLAG_NE);
	__HAL_UART_CLEAR_FLAG(huart, UART_FLAG_FE);
}

void HAL_UART_RxCpltCallback(UART_HandleTypeDef *huart)
{
	if (huart == &huart5) {
		osSignalSet(UART_FPGA_INHandle, 0x02);
	}

	else if(huart == &DEBUG_UART)
    {
		// Store the received character in the buffer
		UART_RxBuffer.RxBuffer[UART_recv_count] = UART_recv_char;

		// Check if this is the end of frame (0x00 terminator) or the buffer is full
		if (UART_recv_char == 0x00 || UART_recv_count >= MAX_COBS_FRAME_LEN - 1)
		{
			// Mark the frame size
			UART_RxBuffer.frame_size = UART_recv_count + 1;

			UART_recv_count = 0;
			UART_recv_char = 0xff;

			// Signal the task that a complete frame is ready to be processed
			osSignalSet(UART_OBC_INHandle, 0x01);

			// DO NOT RE-ARM THE ISR, it will be done after the task processes the buffer,
			// thus ensuring no race condition (the buffer is not modified while being used)
		}
		else
		{
			// Continue accumulating characters
			UART_recv_count++;

			Clear_UART_Errors(&DEBUG_UART);

			if (HAL_UART_Receive_IT(&DEBUG_UART,(uint8_t*) &UART_recv_char, 1) != HAL_OK)
			{
				HAL_GPIO_WritePin(GPIOB, LED4_Pin|LED3_Pin, GPIO_PIN_SET);

				int retry_count = 0;
				HAL_StatusTypeDef uart_status;

				do {
					Clear_UART_Errors(&DEBUG_UART);

					uart_status = HAL_UART_Receive_IT(&DEBUG_UART,(uint8_t*) &UART_recv_char, 1);
					retry_count++;

				} while (uart_status != HAL_OK && retry_count < UART_MAX_RETRIES);

				if (uart_status != HAL_OK) {
					BootHealth_RequestReset();
				}
			}
		}

    }
}

void HAL_UART_TxCpltCallback(UART_HandleTypeDef *huart) {
    if (huart == &DEBUG_UART) {
    	uart_tx_OBC_done = 1;  // Mark transmission as complete
    }
    else if (huart == &huart5) {
    	uart_tx_FPGA_done = 1;  // Mark transmission as complete
	}
}
void HAL_UART_ErrorCallback(UART_HandleTypeDef *huart)
{
    if (huart == &DEBUG_UART) {
        UART_recv_count = 0;
        UART_recv_char  = 0xFF;
        HAL_StatusTypeDef status = HAL_ERROR;
        for (uint32_t attempt = 0u;
             attempt < UART_MAX_RETRIES && status != HAL_OK;
             attempt++) {
            Clear_UART_Errors(&DEBUG_UART);
            status = HAL_UART_Receive_IT(
                &DEBUG_UART, (uint8_t*)&UART_recv_char, 1u);
        }
        if (status != HAL_OK) {
            BootHealth_RequestReset();
        }
    }
}
/* USER CODE END 4 */

void handle_PUS_3_Service(void const * argument)
{

  /* USER CODE BEGIN 5 */

    // uint8_t periodic_report = 0;
    PUS_3_msg pus3_msg_received;
    TM_Err_Codes result;

    /* Infinite loop */
    for(;;)
    {
    		if (xQueueReceive(PUS_3_Queue, &pus3_msg_received, portMAX_DELAY) == pdPASS)
    		{
    			result = PUS_3_perform_HK(pus3_msg_received.data, &pus3_msg_received);

    			if(result == NO_ERROR)
    			{
            PUS_1_send_succ_comp(&pus3_msg_received.SPP_header, &pus3_msg_received.PUS_TC_header);
    			}
    			else
    			{
    				PUS_1_send_fail_comp(&pus3_msg_received.SPP_header, &pus3_msg_received.PUS_TC_header, result);
    			}
    		}

    	osDelay(1);
    }
  /* USER CODE END 5 */
}

void handle_UART_IN_OBC(void const * argument)
{
  /* USER CODE BEGIN handle_UART_IN_OBC */

	// Clear Overrun Error, Noise Error, and Framing Error flags
	Clear_UART_Errors(&DEBUG_UART);

	if (arm_obc_receive()) {
		g_boot_health_flags |= BOOT_HEALTH_OBC_RX_ARM;
	} else {
		BootHealth_RequestReset();
	}

	/* Infinite loop */
	for(;;)
	{
		osEvent evt = osSignalWait(0x01, osWaitForever);

		if (evt.status == osEventSignal)
		{
			if (evt.value.signals & 0x01)
			{
				Handle_incoming_TC();

				memset((void*)UART_RxBuffer.RxBuffer, 0, sizeof(UART_RxBuffer.RxBuffer));

				// Read out any pending data in the RX buffer that might have been received while ISR was disabled
				while (__HAL_UART_GET_FLAG(&DEBUG_UART, UART_FLAG_RXNE)) {
					volatile uint8_t dummy = (uint8_t)(DEBUG_UART.Instance->RDR);  // Read and discard
					(void)dummy;  // Avoid compiler warnings
				}

				Clear_UART_Errors(&DEBUG_UART);

				if (HAL_UART_Receive_IT(&DEBUG_UART,(uint8_t*) &UART_recv_char, 1) != HAL_OK)
				{
					// if rearming fails, try several times
					HAL_GPIO_WritePin(GPIOB, LED4_Pin|LED3_Pin, GPIO_PIN_SET);

					int retry_count = 0;
					HAL_StatusTypeDef uart_status;

					do {
						Clear_UART_Errors(&DEBUG_UART);

					    uart_status = HAL_UART_Receive_IT(&DEBUG_UART, (uint8_t*)&UART_recv_char, 1);
					    retry_count++;

					    if (uart_status != HAL_OK) {
					        osDelay(10); // Small delay between retries
					    }
					} while (uart_status != HAL_OK && retry_count < UART_MAX_RETRIES);

					if (uart_status != HAL_OK) {
					    BootHealth_RequestReset();
					}
				}
			}
		}
		osDelay(1);
	}
  /* USER CODE END handle_UART_IN_OBC */
}

void handle_PUS_8_Service(void const * argument)
{
  /* USER CODE BEGIN handle_PUS_8_Service */
  /* Infinite loop */
	PUS_8_msg pus8_msg_received;
	PUS_8_msg_unpacked pus8_msg_unpacked;
	TM_Err_Codes result;

	for(;;)
	{
		if (xQueueReceive(PUS_8_Queue, &pus8_msg_received, portMAX_DELAY) == pdPASS)
		{
			pus8_msg_unpacked = (PUS_8_msg_unpacked){0};

			result = PUS_8_unpack_msg(&pus8_msg_received, &pus8_msg_unpacked);

			if(result == NO_ERROR)
			{
				result = PUS_8_perform_function(&pus8_msg_received.SPP_header, &pus8_msg_received.PUS_TC_header, &pus8_msg_unpacked);

				if(result == NO_ERROR)
				{
					PUS_1_send_succ_comp(&pus8_msg_received.SPP_header, &pus8_msg_received.PUS_TC_header);
				}
				else
				{
					PUS_1_send_fail_comp(&pus8_msg_received.SPP_header, &pus8_msg_received.PUS_TC_header, result);
				}
			}
			else
			{
				PUS_1_send_fail_comp(&pus8_msg_received.SPP_header, &pus8_msg_received.PUS_TC_header, result);
			}

			pus8_msg_received = (PUS_8_msg){0};
		}
		osDelay(1);
	}
  /* USER CODE END handle_PUS_8_Service */
}

void handle_UART_OUT_OBC(void const * argument)
{
  /* USER CODE BEGIN handle_UART_OUT_OBC */

	UART_OUT_OBC_msg UART_OUT_msg_received;

  /* Infinite loop */
  for(;;)
  {
	  if (xQueueReceive(UART_OBC_Out_Queue, &UART_OUT_msg_received, portMAX_DELAY) == pdPASS)
	  {
		  Add_SPP_PUS_and_send_TM(&UART_OUT_msg_received);
	  }
	  osDelay(1);
  }
  /* USER CODE END handle_UART_OUT_OBC */
}

void handle_UART_IN_FPGA(void const * argument)
{
  /* USER CODE BEGIN handle_UART_IN_FPGA */

	if (arm_fpga_receive()) {
		g_boot_health_flags |= BOOT_HEALTH_FPGA_RX_ARM;
	} else {
		BootHealth_RequestReset();
	}
  static uint8_t realign_len = 0;

  /* Infinite loop */
  for(;;)
  {
	osEvent evt = osSignalWait(0x06, osWaitForever);

		if (evt.status == osEventSignal)
		{
			if (evt.value.signals & 0x02)
			{

        if (realign_len > 0) // if there has been a realignement, check again
        {
          if (!PUS_8_check_FPGA_msg_format(UART_FPGA_Rx_Buffer, FPGA_FRAME_LEN)) // reset and restart
          {
            realign_len = 0;
            HAL_UART_Receive_DMA(&huart5, UART_FPGA_Rx_Buffer, FPGA_FRAME_LEN);
            continue;
          }
          // if it's valid I go to switch case
          realign_len = 0;
        }
        else  // if no realignement happened
        {
          if (!PUS_8_check_FPGA_msg_format(UART_FPGA_Rx_Buffer, FPGA_FRAME_LEN)) // start realignment
          {
            int start = -1;
            for (int i = 0; i < FPGA_FRAME_LEN-1; i++) // search position of preamble
            {
              if (UART_FPGA_Rx_Buffer[i] == FPGA_MSG_PREAMBLE_0 && UART_FPGA_Rx_Buffer[i + 1] == FPGA_MSG_PREAMBLE_1)
              {
                start = i;
                break;
              }
            }

            if (start >= 0) // preamble found, shift and fill buffer
            {
              uint8_t good = FPGA_FRAME_LEN - start;
              memmove(UART_FPGA_Rx_Buffer, UART_FPGA_Rx_Buffer + start, good);
              HAL_UART_Receive_DMA(&huart5, UART_FPGA_Rx_Buffer + good, FPGA_FRAME_LEN - good);
              realign_len = good;
              continue;
            }
            else // preamble not found
            {
              // special scenario: if last byte is first preamble, shift of 1 byte
              if (UART_FPGA_Rx_Buffer[FPGA_FRAME_LEN-1] == FPGA_MSG_PREAMBLE_0)
              {
                UART_FPGA_Rx_Buffer[0] = UART_FPGA_Rx_Buffer[FPGA_FRAME_LEN-1];
                HAL_UART_Receive_DMA(&huart5, UART_FPGA_Rx_Buffer + 1, FPGA_FRAME_LEN-1);
                realign_len = 1;
                continue;
              }
              HAL_UART_Receive_DMA(&huart5, UART_FPGA_Rx_Buffer, FPGA_FRAME_LEN);
              realign_len = 0;
              continue;
            }
          }
        }

        FPGA_IN_Msg_t msg = {0};
        memcpy(msg.data, UART_FPGA_Rx_Buffer, FPGA_FRAME_LEN);

        xQueueSend(FPGA_IN_Queue, &msg, 0);
        HAL_UART_Receive_DMA(&huart5, UART_FPGA_Rx_Buffer, FPGA_FRAME_LEN);
      }

      if (evt.value.signals & 0x04)
      { // CB flush requested -- DISABLE CB

        if (Measurement_Index > 0)
        {
          UART_OUT_OBC_msg msg_flush = {0};

          msg_flush.PUS_HEADER_PRESENT = 0;
          msg_flush.TM_data[0] = SC_BIAS;

          uint8_t *buf = Constant_Bias_Mode_Buffer[Buffer_Index];
          memcpy(msg_flush.TM_data + 1, buf, 2 + 6 * Measurement_Index);
          msg_flush.TM_data_len = 1 + 2 + 6 * Measurement_Index;

          xQueueSend(UART_OBC_Out_Queue, &msg_flush, portMAX_DELAY);

          Measurement_Index = 0;
          cb_cnt_valid = 0;

        }

        HAL_UART_AbortReceive(&huart5);
        __HAL_UART_CLEAR_FLAG(&huart5, UART_FLAG_ORE);
        __HAL_UART_CLEAR_FLAG(&huart5, UART_FLAG_NE);
        __HAL_UART_CLEAR_FLAG(&huart5, UART_FLAG_FE);

        realign_len = 0;
				memset(UART_FPGA_Rx_Buffer, 0, sizeof(UART_FPGA_Rx_Buffer));
				memset(UART_FPGA_OBC_Tx_Buffer, 0, sizeof(UART_FPGA_OBC_Tx_Buffer));

        if (HAL_UART_Receive_DMA(&huart5, UART_FPGA_Rx_Buffer, FPGA_FRAME_LEN) != HAL_OK) {
          HAL_GPIO_WritePin(GPIOB, LED4_Pin|LED3_Pin, GPIO_PIN_SET);
        }
      }
		}
	osDelay(1);
  }
  /* USER CODE END handle_UART_IN_FPGA */
}

void handle_FPGA_Dispatcher(void const * argument)
{
  /* USER CODE BEGIN handle_FPGA_Dispatcher */

  FPGA_IN_Msg_t msg;

  /* Infinite loop */
  for (;;)
  {
    if (xQueueReceive(FPGA_IN_Queue, &msg, portMAX_DELAY) == pdPASS)
    {
      FPGA_process_frame(msg.data);
    }
    osDelay(1);
  }
  /* USER CODE END handle_FPGA_Dispatcher */
}

void handle_Watchdog(void const * argument)
{
  /* USER CODE BEGIN handle_Watchdog */
  TickType_t next_confirm_attempt = 0u;

  /* Infinite loop */
	for(;;)
	{
	  if (g_boot_health_failed) {
		  /* The reset latch also suppresses refreshes in FRAM and flash code. */
		  osDelay(1000u);
		  continue;
	  }

	  if (!BootHealth_RefreshIWDG()) {
		  BootHealth_RequestReset();
		  continue;
	  }

	  /* Require the lowest-priority task to yield and run again before it may
	   * satisfy the boot-health gate. */
	  osDelay(1000u);
	  if (g_boot_health_failed) {
		  continue;
	  }
	  g_boot_health_flags |= BOOT_HEALTH_WATCHDOG;

	  TickType_t now = xTaskGetTickCount();
	  if (!g_boot_health_failed &&
		  !g_boot_confirmed &&
		  (g_boot_health_flags & BOOT_HEALTH_REQUIRED) == BOOT_HEALTH_REQUIRED &&
		  (int32_t)(now - next_confirm_attempt) >= 0) {
		  g_boot_confirmed = ConfirmBoot() ? 1u : 0u;
		  next_confirm_attempt =
			  xTaskGetTickCount() + pdMS_TO_TICKS(5000u);
	  }
	}
  /* USER CODE END handle_Watchdog */
}

void HAL_TIM_PeriodElapsedCallback(TIM_HandleTypeDef *htim)
{
  if (htim->Instance == TIM1) {
    HAL_IncTick();
  }
}

void Error_Handler(void)
{
  /* USER CODE BEGIN Error_Handler_Debug */
	g_app_diag.current_stage |= 0x80000000u;
	g_app_diag.cfsr = SCB->CFSR;
	g_app_diag.hfsr = SCB->HFSR;
	__DMB();
	__disable_irq();
	/* The bootloader-started IWDG resets the device. Never continue startup
	 * after a failed HAL initialization. */
	while (1) { }
  /* USER CODE END Error_Handler_Debug */
}

/************************ (C) COPYRIGHT STMicroelectronics *****END OF FILE****/
